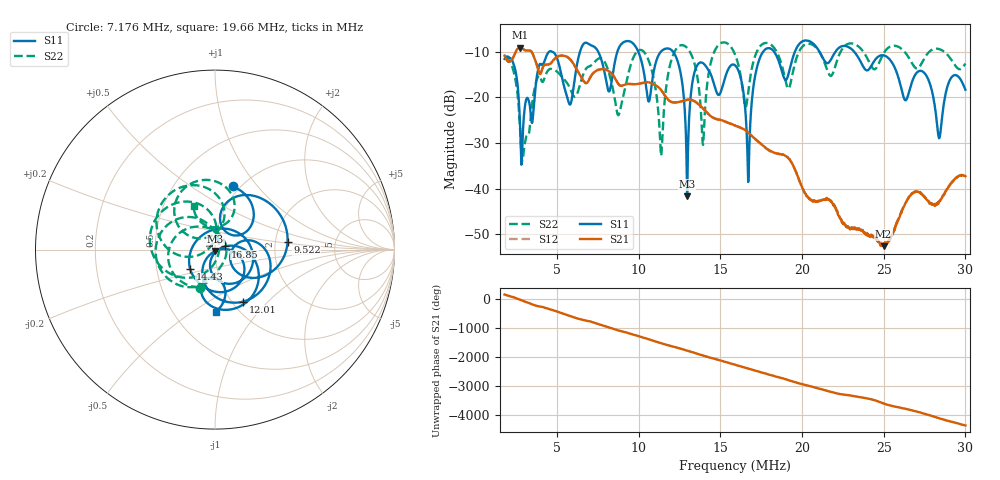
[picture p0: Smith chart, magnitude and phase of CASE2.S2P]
!Agilent Technologies,E5061B,MY49101568,A.02.00
!Date: Wed Mar 01 12:24:36 2023
!Data & Calibration Information:
!Freq	S11:SOLT2(OFF)	S21:SOLT2(OFF)	S12:SOLT2(OFF)	S22:SOLT2(OFF)
# Hz S dB R 50
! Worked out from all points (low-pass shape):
!   1155 points, 1.8 MHz to 30 MHz, reference 50 ohm
!   highest |S21| = -9.08 dB at 2.753 MHz (marker M1); lowest = -52.6 dB at 24.99 MHz (marker M2)
!   |S21| within 3 dB of the highest: 2.113 MHz to 3.698 MHz (1.585 MHz wide, 54.6 % of centre); 4.732 MHz to 5.905 MHz (1.173 MHz wide, 22.1 % of centre)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
!   lowest |S11| = -41.7 dB at 12.97 MHz (marker M3), VSWR 1.02, Z = 50.1 - j0.816 ohm
!   |S11| at or under -10 dB: start of sweep to 4.526 MHz; 12.11 MHz to 17.62 MHz (5.511 MHz wide, 37.1 % of centre); 23.19 MHz to end of sweep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
!   |S22| runs from -33.9 to -8.0 dB; largest |S21 - S12| = 0.0048
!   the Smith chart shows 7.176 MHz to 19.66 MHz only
!   S11 on the Smith chart (normalised r, x): 7.176 MHz: 0.93, +0.75; 9.522 MHz: 2.34, +0.23; 12.01 MHz: 1.13, -0.73; 14.43 MHz: 0.74, -0.17; 16.85 MHz: 1.12, +0.04; 19.66 MHz: 0.79, -0.62
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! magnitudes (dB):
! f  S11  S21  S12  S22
! 1.8 MHz  -11.6  -10.9  -10.8  -11.3
! 2.753 MHz  -26.7  -9.1  -9.1  -27.1
! 6.516 MHz  -9.0  -15.8  -15.7  -16.0
! 7.176 MHz  -8.7  -14.9  -14.8  -12.8
! 8.178 MHz  -18.7  -14.3  -14.3  -14.5
! 8.764 MHz  -9.4  -17.1  -17.0  -23.9
! 9.522 MHz  -7.8  -17.1  -17.0  -12.8
! 10.62 MHz  -20.9  -16.7  -16.7  -12.0
! 11.21 MHz  -10.9  -17.7  -17.8  -23.2
! 12.01 MHz  -9.6  -21.0  -21.0  -11.7
! 12.97 MHz  -41.7  -20.5  -20.6  -9.2
! 13.92 MHz  -12.5  -22.3  -22.4  -30.1
! 14.43 MHz  -15.1  -24.2  -24.2  -12.2
! 15.9 MHz  -13.0  -26.2  -26.2  -10.6
! 16.85 MHz  -24.5  -28.2  -28.2  -15.1
! 17.56 MHz  -10.3  -30.4  -30.5  -8.4
! 19.66 MHz  -9.2  -36.5  -36.6  -11.4
! 20.62 MHz  -8.0  -42.6  -42.6  -8.4
! 24.99 MHz  -10.8  -52.6  -52.3  -10.4
! 25.31 MHz  -11.5  -51.5  -51.2  -9.1
! 28.39 MHz  -28.9  -42.8  -42.8  -9.4
! 30 MHz  -18.3  -37.3  -37.2  -12.6
